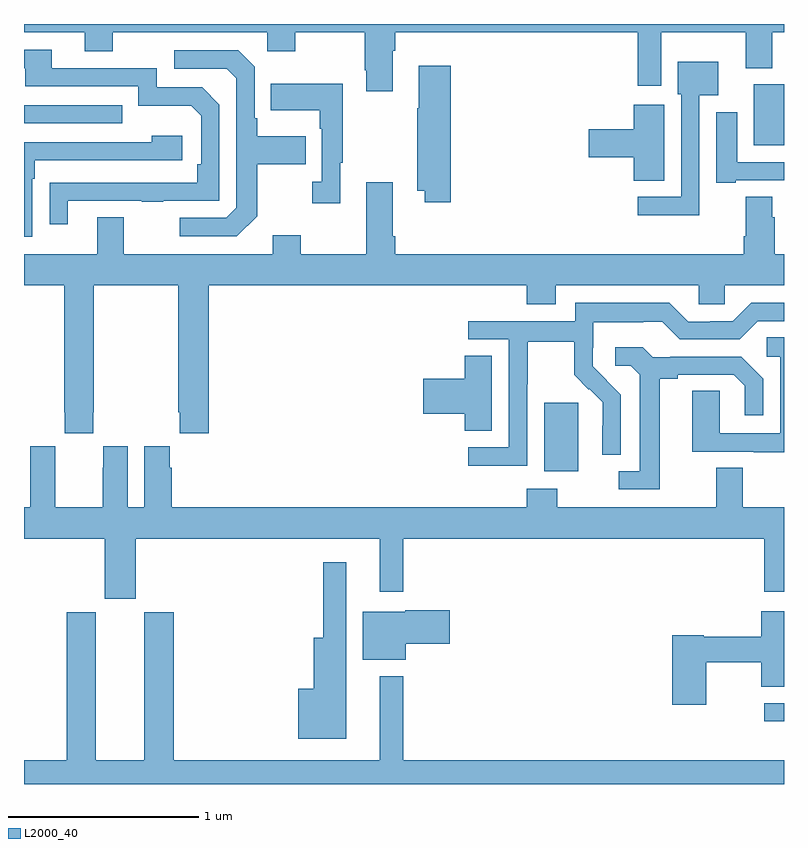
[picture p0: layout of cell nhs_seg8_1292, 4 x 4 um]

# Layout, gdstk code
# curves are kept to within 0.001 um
import gdstk
lib = gdstk.Library(unit=1e-6, precision=1e-09)
def R(c, l, rs):  # rectangles x0, y0, x1, y1
    for r in rs: c.add(gdstk.rectangle(r[:2], r[2:], *l))
def P(c, l, *ps):  # polygons
    for p in ps: c.add(gdstk.Polygon(p, *l))
L2000_40 = (2000, 40)

nhs_seg8_1292 = lib.new_cell('nhs_seg8_1292')
R(nhs_seg8_1292, L2000_40, [(196.896,1090.229,197,1090.326), (195.737,1091.546,195.916,1091.907), (196.841,1093.262,197,1093.582), (193,1093.377,193.517,1093.473)])
P(nhs_seg8_1292, L2000_40, [(194.941,1093.76),(194.954,1093.76),(194.954,1093.856),(196.229,1093.856),(196.229,1093.575),(196.354,1093.575),(196.354,1093.856),(196.799,1093.856),(196.799,1093.667),(196.939,1093.667),(196.939,1093.856),(197,1093.856),(197,1093.9),(193,1093.9),(193,1093.856),(193.319,1093.856),(193.319,1093.757),(193.467,1093.757),(193.467,1093.856),(194.28,1093.856),(194.28,1093.757),(194.427,1093.757),(194.427,1093.856),(194.794,1093.856),(194.794,1093.657),(194.801,1093.657),(194.801,1093.545),(194.941,1093.545)],
  [(193.231,1092.969),(193.621,1092.969),(193.621,1092.964),(193.733,1092.964),(193.733,1092.969),(194.028,1092.969),(194.028,1093.476),(193.938,1093.566),(193.698,1093.566),(193.698,1093.668),(193.147,1093.668),(193.147,1093.764),(193,1093.764),(193,1093.668),(193.007,1093.668),(193.007,1093.572),(193.602,1093.572),(193.602,1093.469),(193.879,1093.469),(193.932,1093.416),(193.932,1093.162),(193.912,1093.162),(193.912,1093.065),(193.135,1093.064),(193.135,1092.846),(193.231,1092.846)],
  [(194.227,1092.889),(194.227,1093.162),(194.483,1093.162),(194.483,1093.309),(194.227,1093.309),(194.227,1093.405),(194.214,1093.405),(194.214,1093.674),(194.127,1093.761),(193.791,1093.761),(193.791,1093.665),(194.067,1093.665),(194.118,1093.614),(194.118,1092.933),(194.064,1092.879),(193.821,1092.879),(193.821,1092.783),(194.121,1092.783)],
  [(196.554,1093.526),(196.654,1093.526),(196.654,1093.702),(196.442,1093.702),(196.442,1093.53),(196.458,1093.53),(196.458,1092.99),(196.23,1092.99),(196.23,1092.893),(196.554,1092.893)],
  [(195.245,1093.681),(195.077,1093.681),(195.077,1093.457),(195.07,1093.457),(195.07,1093.022),(195.11,1093.022),(195.11,1092.963),(195.245,1092.963)],
  [(194.665,1093.169),(194.677,1093.169),(194.677,1093.585),(194.299,1093.585),(194.299,1093.445),(194.556,1093.445),(194.556,1093.349),(194.568,1093.349),(194.568,1093.07),(194.517,1093.07),(194.517,1092.957),(194.665,1092.957)],
  [(196.369,1093.474),(196.208,1093.474),(196.208,1093.346),(195.972,1093.346),(195.972,1093.199),(196.208,1093.199),(196.208,1093.075),(196.369,1093.075)],
  [(196.747,1093.077),(197,1093.077),(197,1093.173),(196.753,1093.173),(196.753,1093.435),(196.643,1093.435),(196.643,1093.065),(196.747,1093.065)],
  [(193.044,1093.085),(193.057,1093.085),(193.057,1093.182),(193.834,1093.182),(193.834,1093.312),(193.673,1093.312),(193.673,1093.278),(193,1093.278),(193,1092.78),(193.044,1092.78)],
  [(193.365,1091.857),(193.368,1091.857),(193.368,1092.524),(193.813,1092.524),(193.813,1091.857),(193.819,1091.857),(193.819,1091.745),(193.973,1091.745),(193.973,1092.524),(195.647,1092.524),(195.647,1092.425),(195.799,1092.425),(195.799,1092.524),(196.551,1092.524),(196.551,1092.426),(196.689,1092.426),(196.689,1092.524),(197,1092.524),(197,1092.688),(196.952,1092.688),(196.952,1092.884),(196.939,1092.884),(196.939,1092.992),(196.799,1092.992),(196.799,1092.784),(196.787,1092.784),(196.787,1092.688),(194.954,1092.688),(194.954,1092.784),(194.941,1092.784),(194.941,1093.066),(194.801,1093.066),(194.801,1092.688),(194.457,1092.688),(194.457,1092.787),(194.309,1092.787),(194.309,1092.688),(193.525,1092.688),(193.525,1092.883),(193.385,1092.883),(193.385,1092.688),(193,1092.688),(193,1092.524),(193.213,1092.524),(193.213,1091.857),(193.215,1091.857),(193.215,1091.745),(193.365,1091.745)],
  [(195.648,1092.004),(195.651,1092.004),(195.651,1092.228),(195.895,1092.228),(195.895,1092.053),(195.972,1091.976),(195.975,1091.979),(196.046,1091.909),(196.046,1091.786),(196.044,1091.786),(196.044,1091.632),(196.14,1091.632),(196.14,1091.95),(195.994,1092.098),(195.994,1092.195),(195.996,1092.195),(195.996,1092.329),(196.259,1092.329),(196.259,1092.333),(196.359,1092.333),(196.452,1092.24),(196.767,1092.24),(196.863,1092.336),(197,1092.336),(197,1092.432),(196.827,1092.432),(196.731,1092.336),(196.613,1092.336),(196.613,1092.333),(196.497,1092.333),(196.397,1092.433),(195.9,1092.433),(195.9,1092.336),(195.339,1092.336),(195.339,1092.24),(195.552,1092.24),(195.552,1091.673),(195.339,1091.673),(195.339,1091.575),(195.648,1091.575)],
  [(197,1092.251),(196.908,1092.251),(196.908,1092.15),(196.98,1092.15),(196.98,1091.745),(196.662,1091.745),(196.662,1091.969),(196.517,1091.969),(196.517,1091.649),(196.841,1091.649),(196.841,1091.645),(197,1091.645)],
  [(196.345,1092.032),(196.441,1092.032),(196.441,1092.054),(196.736,1092.054),(196.793,1091.997),(196.793,1091.841),(196.89,1091.841),(196.89,1092.034),(196.774,1092.15),(196.402,1092.15),(196.402,1092.147),(196.308,1092.147),(196.256,1092.199),(196.113,1092.199),(196.113,1092.102),(196.194,1092.102),(196.241,1092.055),(196.241,1091.547),(196.131,1091.547),(196.131,1091.451),(196.345,1091.451)],
  [(195.463,1092.155),(195.32,1092.155),(195.32,1092.032),(195.102,1092.032),(195.102,1091.849),(195.32,1091.849),(195.32,1091.758),(195.463,1091.758)],
  [(193.588,1091.192),(194.873,1091.192),(194.873,1090.911),(194.995,1090.911),(194.995,1091.192),(196.895,1091.192),(196.895,1090.911),(197,1090.911),(197,1091.356),(196.783,1091.356),(196.783,1091.564),(196.643,1091.564),(196.643,1091.356),(195.807,1091.356),(195.807,1091.455),(195.647,1091.455),(195.647,1091.356),(193.778,1091.356),(193.778,1091.564),(193.768,1091.564),(193.768,1091.677),(193.634,1091.677),(193.634,1091.356),(193.546,1091.356),(193.546,1091.677),(193.416,1091.677),(193.416,1091.564),(193.415,1091.564),(193.415,1091.356),(193.165,1091.356),(193.165,1091.564),(193.164,1091.564),(193.164,1091.677),(193.034,1091.677),(193.034,1091.356),(193,1091.356),(193,1091.192),(193.424,1091.192),(193.424,1090.875),(193.588,1090.875)],
  [(194.695,1091.068),(194.574,1091.068),(194.574,1090.669),(194.525,1090.669),(194.525,1090.402),(194.444,1090.402),(194.444,1090.139),(194.695,1090.139)],
  [(195.01,1090.637),(195.241,1090.637),(195.241,1090.815),(195.006,1090.815),(195.006,1090.807),(194.783,1090.807),(194.783,1090.553),(195.01,1090.553)],
  [(196.59,1090.54),(196.879,1090.54),(196.879,1090.411),(197,1090.411),(197,1090.81),(196.879,1090.81),(196.879,1090.676),(196.578,1090.676),(196.578,1090.684),(196.412,1090.684),(196.412,1090.317),(196.59,1090.317)],
  [(197,1090.024),(194.995,1090.024),(194.995,1090.468),(194.873,1090.468),(194.873,1090.024),(193.787,1090.024),(193.787,1090.803),(193.634,1090.803),(193.634,1090.024),(193.378,1090.024),(193.378,1090.803),(193.226,1090.803),(193.226,1090.024),(193,1090.024),(193,1089.9),(197,1089.9)])

lib.write_gds('nhs_seg8_1292.gds')
